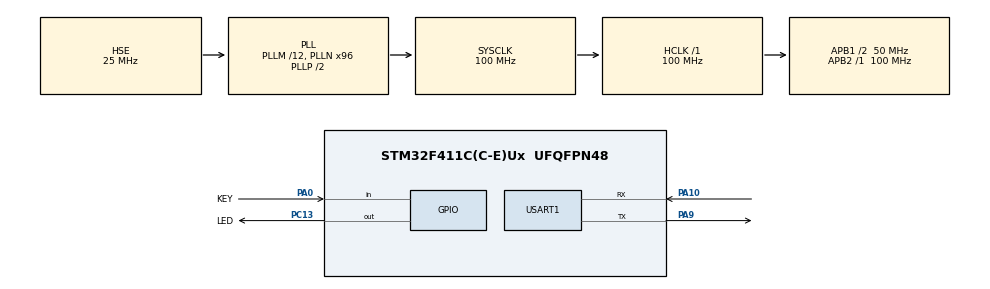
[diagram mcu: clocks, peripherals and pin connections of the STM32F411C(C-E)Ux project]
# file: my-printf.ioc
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FREERTOS.Tasks01=defaultTask,24,128,StartDefaultTask,Default,NULL,Dynamic,NULL,NULL
Mcu.Family=STM32F4
Mcu.Name=STM32F411C(C-E)Ux
Mcu.Package=UFQFPN48
NVIC.PriorityGroup=NVIC_PRIORITYGROUP_4
NVIC.TIM1_UP_TIM10_IRQn=true\:15\:0\:false\:false\:true\:false\:false\:true\:true
NVIC.TimeBase=TIM1_UP_TIM10_IRQn
NVIC.TimeBaseIP=TIM1
PA0-WKUP.GPIO_Label=KEY
PA0-WKUP.GPIO_PuPd=GPIO_PULLUP
PA0-WKUP.Signal=GPIO_Input
PA10.Mode=Asynchronous
PA10.Signal=USART1_RX
PA13.Mode=Serial_Wire
PA13.Signal=SYS_JTMS-SWDIO
PA14.Mode=Serial_Wire
PA14.Signal=SYS_JTCK-SWCLK
PA9.Mode=Asynchronous
PA9.Signal=USART1_TX
PC13-ANTI_TAMP.GPIO_Label=LED
PC13-ANTI_TAMP.GPIO_PuPd=GPIO_PULLUP
PC13-ANTI_TAMP.Signal=GPIO_Output
PC14-OSC32_IN.Mode=LSE-External-Oscillator
PC14-OSC32_IN.Signal=RCC_OSC32_IN
PC15-OSC32_OUT.Mode=LSE-External-Oscillator
PC15-OSC32_OUT.Signal=RCC_OSC32_OUT
PH0\ -\ OSC_IN.Mode=HSE-External-Oscillator
PH0\ -\ OSC_IN.Signal=RCC_OSC_IN
PH1\ -\ OSC_OUT.Mode=HSE-External-Oscillator
PH1\ -\ OSC_OUT.Signal=RCC_OSC_OUT
ProjectManager.HeapSize=0x200
ProjectManager.StackSize=0x400
ProjectManager.TargetToolchain=MDK-ARM V5.32
RCC.48MHZClocksFreq_Value=50000000
RCC.AHBFreq_Value=100000000
RCC.APB1CLKDivider=RCC_HCLK_DIV2
RCC.APB1Freq_Value=50000000
RCC.APB1TimFreq_Value=100000000
RCC.APB2Freq_Value=100000000
RCC.APB2TimFreq_Value=100000000
RCC.CortexFreq_Value=100000000
RCC.HCLKFreq_Value=100000000
RCC.HSE_VALUE=25000000
RCC.HSI_VALUE=16000000
RCC.PLLM=12
RCC.PLLN=96
RCC.PLLSourceVirtual=RCC_PLLSOURCE_HSE
RCC.SYSCLKFreq_VALUE=100000000
RCC.SYSCLKSource=RCC_SYSCLKSOURCE_PLLCLK
RCC.VCOOutputFreq_Value=200000000
USART1.VirtualMode=VM_ASYNC
VP_FREERTOS_VS_CMSIS_V2.Mode=CMSIS_V2
VP_SYS_VS_tim1.Mode=TIM1
board=custom

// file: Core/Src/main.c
/* USER CODE BEGIN Header */
/**
  ******************************************************************************
  * @file           : main.c
  * @brief          : Main program body
  ******************************************************************************
  * @attention
  *
  * Copyright (c) 2026 STMicroelectronics.
  * All rights reserved.
  *
  * This software is licensed under terms that can be found in the LICENSE file
  * in the root directory of this software component.
  * If no LICENSE file comes with this software, it is provided AS-IS.
  *
  ******************************************************************************
  */
/* USER CODE END Header */
#include "main.h"
#include "cmsis_os.h"
#include "usart.h"
#include "gpio.h"

/* USER CODE BEGIN Includes */
#include <stdio.h>
/* USER CODE END Includes */

void SystemClock_Config(void);
void MX_FREERTOS_Init(void);

int main(void)
{

  /* MCU Configuration--------------------------------------------------------*/

  /* Reset of all peripherals, Initializes the Flash interface and the Systick. */
  HAL_Init();

  /* Configure the system clock */
  SystemClock_Config();

  /* Initialize all configured peripherals */
  MX_GPIO_Init();
  MX_USART1_UART_Init();

  /* Init scheduler */
  osKernelInitialize();  /* Call init function for freertos objects (in cmsis_os2.c) */
  MX_FREERTOS_Init();

  /* Start scheduler */
  osKernelStart();

  /* We should never get here as control is now taken by the scheduler */

  /* Infinite loop */
  while (1)
  {

  }
}

void SystemClock_Config(void)
{
  RCC_OscInitTypeDef RCC_OscInitStruct = {0};
  RCC_ClkInitTypeDef RCC_ClkInitStruct = {0};

  /** Configure the main internal regulator output voltage
  */
  __HAL_RCC_PWR_CLK_ENABLE();
  __HAL_PWR_VOLTAGESCALING_CONFIG(PWR_REGULATOR_VOLTAGE_SCALE1);

  /** Initializes the RCC Oscillators according to the specified parameters
  * in the RCC_OscInitTypeDef structure.
  */
  RCC_OscInitStruct.OscillatorType = RCC_OSCILLATORTYPE_HSE;
  RCC_OscInitStruct.HSEState = RCC_HSE_ON;
  RCC_OscInitStruct.PLL.PLLState = RCC_PLL_ON;
  RCC_OscInitStruct.PLL.PLLSource = RCC_PLLSOURCE_HSE;
  RCC_OscInitStruct.PLL.PLLM = 12;
  RCC_OscInitStruct.PLL.PLLN = 96;
  RCC_OscInitStruct.PLL.PLLP = RCC_PLLP_DIV2;
  RCC_OscInitStruct.PLL.PLLQ = 4;
  if (HAL_RCC_OscConfig(&RCC_OscInitStruct) != HAL_OK)
  {
    Error_Handler();
  }

  /** Initializes the CPU, AHB and APB buses clocks
  */
  RCC_ClkInitStruct.ClockType = RCC_CLOCKTYPE_HCLK|RCC_CLOCKTYPE_SYSCLK
                              |RCC_CLOCKTYPE_PCLK1|RCC_CLOCKTYPE_PCLK2;
  RCC_ClkInitStruct.SYSCLKSource = RCC_SYSCLKSOURCE_PLLCLK;
  RCC_ClkInitStruct.AHBCLKDivider = RCC_SYSCLK_DIV1;
  RCC_ClkInitStruct.APB1CLKDivider = RCC_HCLK_DIV2;
  RCC_ClkInitStruct.APB2CLKDivider = RCC_HCLK_DIV1;

  if (HAL_RCC_ClockConfig(&RCC_ClkInitStruct, FLASH_LATENCY_3) != HAL_OK)
  {
    Error_Handler();
  }
}

/* USER CODE BEGIN 4 */

//-------------------------------------------------------------
// printf 重定向函数
#ifdef __GNUC__
    #define PUTCHAR_PROTOTYPE int _io_putchar(int ch)
#else
    #define PUTCHAR_PROTOTYPE int fputc(int ch, FILE *f)
#endif /* __GNUC__ */

PUTCHAR_PROTOTYPE
{
    vTaskSuspendAll();
    HAL_UART_Transmit(&huart1, (uint8_t *)&ch, 1, 0xFFFF);
    xTaskResumeAll();
    return ch;
}
//-------------------------------------------------------------

/* USER CODE END 4 */

void HAL_TIM_PeriodElapsedCallback(TIM_HandleTypeDef *htim)
{
  if (htim->Instance == TIM1)
  {
    HAL_IncTick();
  }
}

void Error_Handler(void)
{
  __disable_irq();
  while (1)
  {
  }
}

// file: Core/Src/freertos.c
/* USER CODE BEGIN Header */
/**
  ******************************************************************************
  * File Name          : freertos.c
  * Description        : Code for freertos applications
  ******************************************************************************
  * @attention
  *
  * Copyright (c) 2026 STMicroelectronics.
  * All rights reserved.
  *
  * This software is licensed under terms that can be found in the LICENSE file
  * in the root directory of this software component.
  * If no LICENSE file comes with this software, it is provided AS-IS.
  *
  ******************************************************************************
  */
/* USER CODE END Header */

#include "FreeRTOS.h"
#include "task.h"
#include "main.h"
#include "cmsis_os.h"

/* USER CODE BEGIN Includes */
#include <stdio.h>
/* USER CODE END Includes */

/* Definitions for defaultTask */
osThreadId_t defaultTaskHandle;
const osThreadAttr_t defaultTask_attributes = {
  .name = "defaultTask",
  .stack_size = 128 * 4,
  .priority = (osPriority_t) osPriorityNormal,
};

void StartDefaultTask(void *argument);

void MX_FREERTOS_Init(void); /* (MISRA C 2004 rule 8.1) */

void MX_FREERTOS_Init(void) {

  /* Create the thread(s) */
  /* creation of defaultTask */
  defaultTaskHandle = osThreadNew(StartDefaultTask, NULL, &defaultTask_attributes);

}

void StartDefaultTask(void *argument)
{
  /* USER CODE BEGIN StartDefaultTask */
  /* Infinite loop */
  for(;;)
  {
      // 1. LED��˸
      if (GPIO_PIN_RESET == HAL_GPIO_ReadPin(LED_GPIO_Port, LED_Pin))
      {
        HAL_GPIO_WritePin(LED_GPIO_Port, LED_Pin, GPIO_PIN_SET);
      }
      else if (GPIO_PIN_SET == HAL_GPIO_ReadPin(LED_GPIO_Port, LED_Pin))
      {
        HAL_GPIO_WritePin(LED_GPIO_Port, LED_Pin, GPIO_PIN_RESET);
      }

      // 2. ��ӡ����
      printf("Hello world");

      osDelay(1000);

    // osDelay(1);
  }
  /* USER CODE END StartDefaultTask */
}
